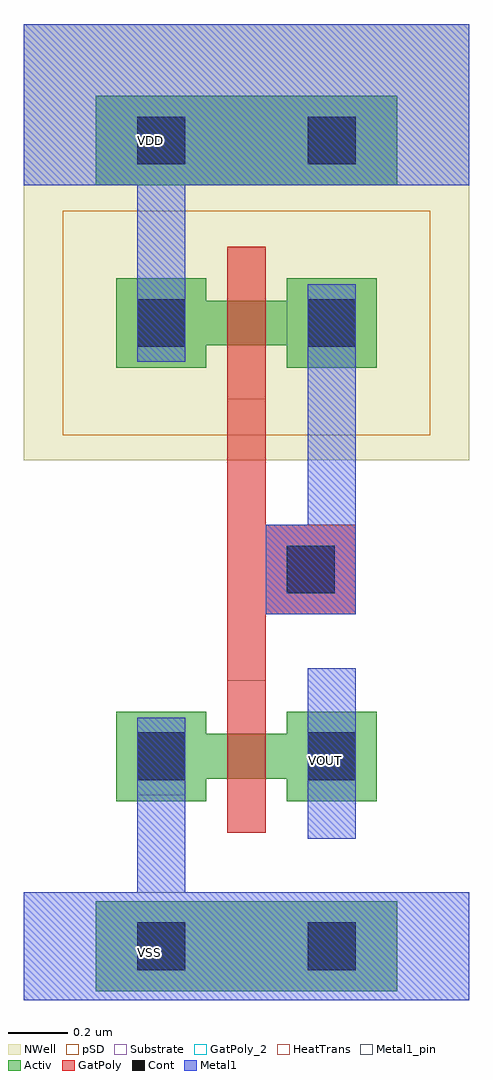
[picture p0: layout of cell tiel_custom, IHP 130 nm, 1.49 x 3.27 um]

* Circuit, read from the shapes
.subckt tiel_custom VDD VOUT VSS
XM1 VOUT n1 VSS VSS sg13_lv_nmos w=0.15u l=0.13u
XM2 n1 n1 VDD VDD sg13_lv_pmos w=0.15u l=0.13u
.ends

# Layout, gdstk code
import gdstk
lib = gdstk.Library(unit=1e-6, precision=5e-09)
def R(c, l, rs):  # rectangles x0, y0, x1, y1
    for r in rs: c.add(gdstk.rectangle(r[:2], r[2:], *l))
Activ = (1, 0)
GatPoly = (5, 0)
GatPoly_2 = (5, 2)
Cont = (6, 0)
Metal1 = (8, 0)
Metal1_pin = (8, 2)
pSD = (14, 0)
NWell = (31, 0)
Substrate = (40, 0)
HeatTrans = (51, 0)

pmos = lib.new_cell('pmos')
R(pmos, Activ, [(0,0,0.3,0.3), (0.57,0,0.87,0.3), (0,0.075,0.87,0.225)])
R(pmos, GatPoly, [(0.37,-0.105,0.5,0.405), (0.37,-0.105,0.5,0.405)])
R(pmos, Cont, [(0.07,0.07,0.23,0.23), (0.64,0.07,0.8,0.23)])
R(pmos, Metal1, [(0.07,0.02,0.23,0.28), (0.07,0.02,0.23,0.28), (0.64,0.02,0.8,0.28), (0.64,0.02,0.8,0.28)])
R(pmos, pSD, [(-0.18,-0.225,1.05,0.525)])
R(pmos, NWell, [(-0.31,-0.31,1.18,0.61)])
R(pmos, Substrate, [(0.57,0,0.87,0.3)])
R(pmos, HeatTrans, [(0.37,-0.105,0.5,0.405)])
pmos.add(gdstk.Label('pmos', (0.435,0.15), layer=63, texttype=0))
pmos.add(gdstk.Label('pmos', (0.435,0.15), layer=51, texttype=0))

nmos = lib.new_cell('nmos')
R(nmos, Activ, [(0,0,0.3,0.3), (0.57,0,0.87,0.3), (0,0.075,0.87,0.225)])
R(nmos, GatPoly, [(0.37,-0.105,0.5,0.405)])
R(nmos, GatPoly_2, [(0.37,-0.105,0.5,0.405)])
R(nmos, Cont, [(0.07,0.07,0.23,0.23), (0.64,0.07,0.8,0.23)])
R(nmos, Metal1, [(0.07,0.02,0.23,0.28), (0.64,0.02,0.8,0.28)])
R(nmos, Metal1_pin, [(0.07,0.02,0.23,0.28), (0.64,0.02,0.8,0.28)])
R(nmos, HeatTrans, [(0.37,-0.105,0.5,0.405)])
nmos.add(gdstk.Label('nmos', (0.435,0.15), layer=63, texttype=0))
nmos.add(gdstk.Label('nmos', (0.435,0.15), layer=51, texttype=0))

tiel_custom = lib.new_cell('tiel_custom')
R(tiel_custom, Activ, [(1.81,0.96,2.82,1.26), (1.81,3.655,2.82,3.955)])
R(tiel_custom, GatPoly, [(2.25,1.49,2.38,3.45), (2.38,2.22,2.68,2.52)])
R(tiel_custom, Cont, [(1.95,1.03,2.11,1.19), (2.52,1.03,2.68,1.19), (2.45,2.29,2.61,2.45), (1.95,3.725,2.11,3.885), (2.52,3.725,2.68,3.885)])
R(tiel_custom, Metal1, [(1.57,0.93,3.06,1.29), (1.95,1.03,2.11,1.875), (2.52,1.47,2.68,2.04), (2.38,2.22,2.68,2.52), (2.45,2.29,2.68,2.45), (2.52,2.29,2.68,3.325), (1.95,3.065,2.11,3.955), (1.57,3.655,3.06,4.195)])
R(tiel_custom, Metal1_pin, [(1.57,0.93,3.06,1.29), (2.52,1.47,2.68,2.04), (2.38,2.22,2.68,2.52), (2.52,2.29,2.68,3.325), (1.57,3.655,3.06,4.195)])
R(tiel_custom, pSD, [(1.57,0.93,3.06,1.29)])
R(tiel_custom, NWell, [(1.57,3.655,3.06,4.195)])
tiel_custom.add(gdstk.Reference(pmos, (1.88,3.045)))
tiel_custom.add(gdstk.Reference(nmos, (1.88,1.595)))
tiel_custom.add(gdstk.Label('VOUT', (2.58,1.73), layer=8, texttype=25))
tiel_custom.add(gdstk.Label('VSS', (1.99,1.09), layer=8, texttype=25))
tiel_custom.add(gdstk.Label('VDD', (1.995,3.805), layer=8, texttype=25))

lib.write_gds('tiel_custom.gds')
